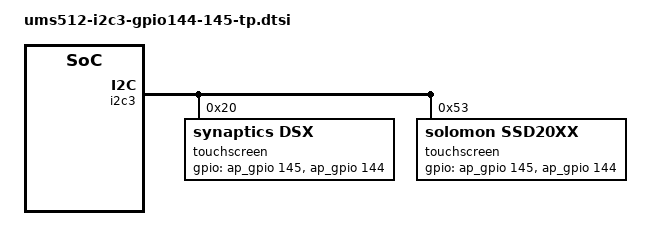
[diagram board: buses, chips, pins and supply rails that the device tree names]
// SPDX-License-Identifier: (GPL-2.0+ OR MIT)
/*
 * Unisoc TP dts file
 *
 * Copyright (C) 2020, Unisoc Inc.
 *
 */
#include <dt-bindings/gpio/gpio.h>

&i2c3 {
	#address-cells = <1>;
	#size-cells = <0>;
	status = "okay";

	touchscreen@20 {
		compatible = "synaptics,dsx";
		reg = <0x20>;
		gpios = <&ap_gpio 145 GPIO_ACTIVE_HIGH
			&ap_gpio 144 GPIO_ACTIVE_HIGH>;
	};

	touchscreen@53 {
		compatible = "solomon,ssd20xx";
		reg = <0x53>;
		gpios = <&ap_gpio 145 GPIO_ACTIVE_HIGH
			&ap_gpio 144 GPIO_ACTIVE_HIGH>;
	};

};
